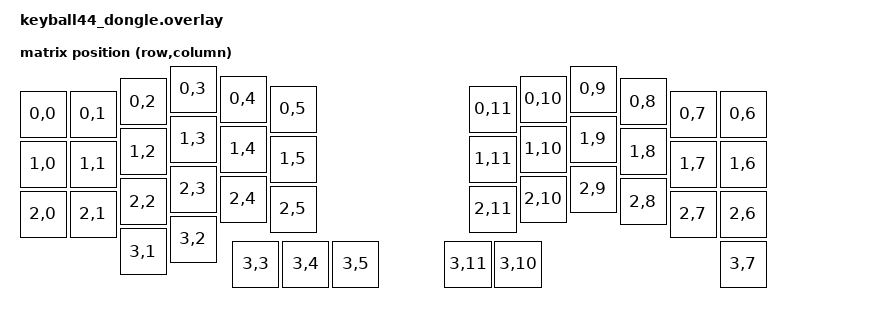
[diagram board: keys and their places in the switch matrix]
#include <dt-bindings/zmk/matrix_transform.h>
#include <physical_layouts.dtsi>
#include <input/processors.dtsi>

/ {
    chosen {
        zmk,kscan = &mock_kscan;
        zmk,physical-layout = &keyball_physical_layout;
    };

    mock_kscan: mock_kscan_0 {
        compatible = "zmk,kscan-mock";
        columns = <0>;
        rows = <0>;
        events = <0>;
    };

    nice_view_spi: dummy_spi {
    };

    pro_micro: dummy_pro_micro {
        gpio-controller;
        #gpio-cells = <2>;
    };

    default_transform: keymap_transform_0 {
        compatible = "zmk,matrix-transform";
        columns = <12>;
        rows = <4>;
        map = <
            RC(0,0) RC(0,1) RC(0,2) RC(0,3) RC(0,4) RC(0,5)                      RC(0,11) RC(0,10) RC(0,9) RC(0,8) RC(0,7) RC(0,6)
            RC(1,0) RC(1,1) RC(1,2) RC(1,3) RC(1,4) RC(1,5)                      RC(1,11) RC(1,10) RC(1,9) RC(1,8) RC(1,7) RC(1,6)
            RC(2,0) RC(2,1) RC(2,2) RC(2,3) RC(2,4) RC(2,5)                      RC(2,11) RC(2,10) RC(2,9) RC(2,8) RC(2,7) RC(2,6)
                    RC(3,1) RC(3,2) RC(3,3) RC(3,4) RC(3,5)                      RC(3,11) RC(3,10)                 RC(3,7)
        >;
    };

    keyball_physical_layout: keyball_physical_layout {
        compatible = "zmk,physical-layout";
        display-name = "Default";
        transform = <&default_transform>;
        kscan = <&mock_kscan>;

        keys
            = <&key_physical_attrs 100 100    0   50       0     0     0>
            , <&key_physical_attrs 100 100  100   50       0     0     0>
            , <&key_physical_attrs 100 100  200   25       0     0     0>
            , <&key_physical_attrs 100 100  300    0       0     0     0>
            , <&key_physical_attrs 100 100  400   20       0     0     0>
            , <&key_physical_attrs 100 100  500   40       0     0     0>
            , <&key_physical_attrs 100 100  900   40       0     0     0>
            , <&key_physical_attrs 100 100 1000   20       0     0     0>
            , <&key_physical_attrs 100 100 1100    0       0     0     0>
            , <&key_physical_attrs 100 100 1200   25       0     0     0>
            , <&key_physical_attrs 100 100 1300   50       0     0     0>
            , <&key_physical_attrs 100 100 1400   50       0     0     0>
            , <&key_physical_attrs 100 100    0  150       0     0     0>
            , <&key_physical_attrs 100 100  100  150       0     0     0>
            , <&key_physical_attrs 100 100  200  125       0     0     0>
            , <&key_physical_attrs 100 100  300  100       0     0     0>
            , <&key_physical_attrs 100 100  400  120       0     0     0>
            , <&key_physical_attrs 100 100  500  140       0     0     0>
            , <&key_physical_attrs 100 100  900  140       0     0     0>
            , <&key_physical_attrs 100 100 1000  120       0     0     0>
            , <&key_physical_attrs 100 100 1100  100       0     0     0>
            , <&key_physical_attrs 100 100 1200  125       0     0     0>
            , <&key_physical_attrs 100 100 1300  150       0     0     0>
            , <&key_physical_attrs 100 100 1400  150       0     0     0>
            , <&key_physical_attrs 100 100    0  250       0     0     0>
            , <&key_physical_attrs 100 100  100  250       0     0     0>
            , <&key_physical_attrs 100 100  200  225       0     0     0>
            , <&key_physical_attrs 100 100  300  200       0     0     0>
            , <&key_physical_attrs 100 100  400  220       0     0     0>
            , <&key_physical_attrs 100 100  500  240       0     0     0>
            , <&key_physical_attrs 100 100  900  240       0     0     0>
            , <&key_physical_attrs 100 100 1000  220       0     0     0>
            , <&key_physical_attrs 100 100 1100  200       0     0     0>
            , <&key_physical_attrs 100 100 1200  225       0     0     0>
            , <&key_physical_attrs 100 100 1300  250       0     0     0>
            , <&key_physical_attrs 100 100 1400  250       0     0     0>
            , <&key_physical_attrs 100 100  200  325       0     0     0>
            , <&key_physical_attrs 100 100  300  300       0     0     0>
            , <&key_physical_attrs 100 100  425  350       0     0     0>
            , <&key_physical_attrs 100 100  525  350       0     0     0>
            , <&key_physical_attrs 100 100  625  350       0     0     0>
            , <&key_physical_attrs 100 100  850  350       0     0     0>
            , <&key_physical_attrs 100 100  950  350       0     0     0>
            , <&key_physical_attrs 100 100 1400  350       0     0     0>
            ;
    };

    split_inputs {
        #address-cells = <1>;
        #size-cells = <0>;

        trackball_split: trackball@0 {
            compatible = "zmk,input-split";
            reg = <0>;
        };
    };

    trackball_listener {
        compatible = "zmk,input-listener";
        device = <&trackball_split>;
        input-processors = <&zip_temp_layer 4 700>;

        scroll {
            layers = <5>;
            input-processors = <&zip_xy_to_scroll_mapper>;
        };

        snipe {
            layers = <6>;
            input-processors = <&zip_xy_scaler 1 3>;
        };
    };
};
